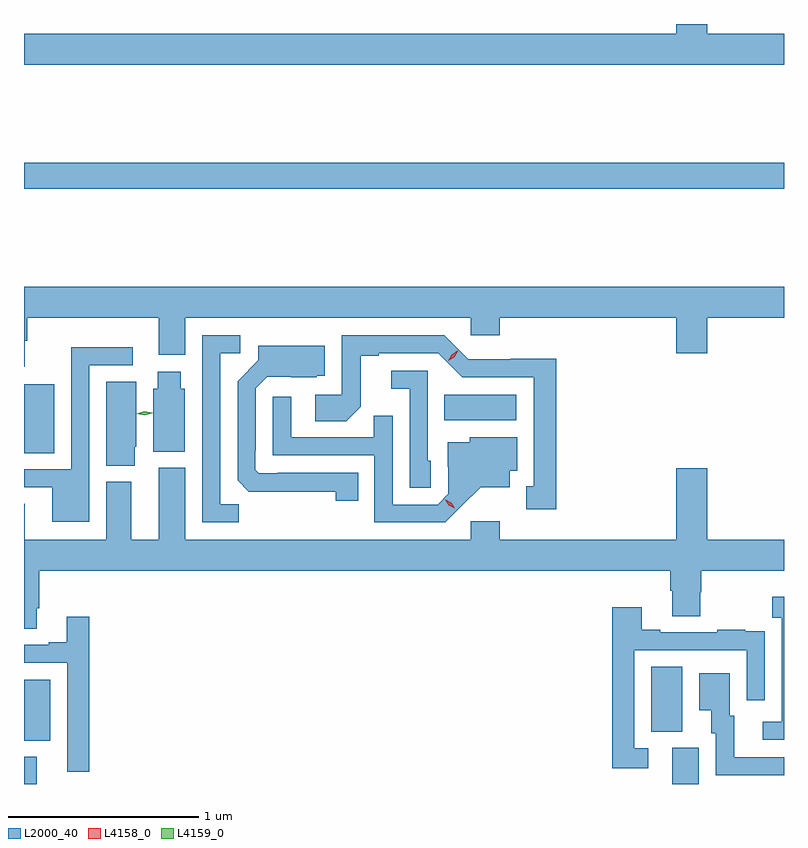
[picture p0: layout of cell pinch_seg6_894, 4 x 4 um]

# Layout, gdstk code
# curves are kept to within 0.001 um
import gdstk
lib = gdstk.Library(unit=1e-6, precision=1e-09)
def R(c, l, rs):  # rectangles x0, y0, x1, y1
    for r in rs: c.add(gdstk.rectangle(r[:2], r[2:], *l))
def P(c, l, *ps):  # polygons
    for p in ps: c.add(gdstk.Polygon(p, *l))
L2000_40 = (2000, 40)
L4158_0 = (4158, 0)
L4159_0 = (4159, 0)

pinch_seg6_894 = lib.new_cell('pinch_seg6_894')
R(pinch_seg6_894, L2000_40, [(353.383,942.218,353.449,942.361), (356.795,942.218,356.935,942.408), (353.383,942.446,353.521,942.766), (356.684,942.493,356.848,942.836), (353.383,943.96,353.542,944.323), (355.594,944.132,355.975,944.266), (353.383,945.352,357.383,945.488)])
P(pinch_seg6_894, L2000_40, [(357.383,946.168),(356.98,946.168),(356.98,946.218),(356.816,946.218),(356.816,946.168),(353.383,946.168),(353.383,946.004),(357.383,946.004)],
  [(353.386,944.552),(353.399,944.552),(353.399,944.672),(354.092,944.672),(354.092,944.478),(354.232,944.478),(354.232,944.672),(355.734,944.672),(355.734,944.579),(355.886,944.579),(355.886,944.672),(356.816,944.672),(356.816,944.484),(356.98,944.484),(356.98,944.672),(357.383,944.672),(357.383,944.836),(353.383,944.836),(353.383,944.415),(353.386,944.415)],
  [(354.513,943.691),(354.417,943.691),(354.417,944.484),(354.52,944.484),(354.52,944.58),(354.321,944.58),(354.321,943.596),(354.513,943.596)],
  [(356.185,944.456),(355.944,944.456),(355.944,944.454),(355.722,944.454),(355.596,944.58),(355.056,944.58),(355.056,944.268),(354.915,944.268),(354.915,944.128),(355.079,944.128),(355.155,944.204),(355.155,944.472),(355.249,944.472),(355.249,944.484),(355.563,944.484),(355.689,944.358),(356.066,944.358),(356.066,943.785),(356.027,943.785),(356.027,943.665),(356.185,943.665)],
  [(355.142,943.857),(354.718,943.857),(354.718,943.854),(354.618,943.854),(354.6,943.872),(354.6,943.972),(354.603,943.972),(354.603,944.301),(354.663,944.361),(354.92,944.36),(354.926,944.366),(354.967,944.366),(354.967,944.524),(354.617,944.524),(354.617,944.448),(354.507,944.338),(354.507,943.816),(354.566,943.757),(355.024,943.756),(355.024,943.71),(355.142,943.71)],
  [(353.727,944.421),(353.956,944.421),(353.956,944.518),(353.631,944.518),(353.631,943.875),(353.383,943.875),(353.383,943.779),(353.531,943.779),(353.531,943.598),(353.727,943.598)],
  [(355.524,943.92),(355.509,943.92),(355.509,944.394),(355.317,944.394),(355.317,944.297),(355.413,944.297),(355.413,943.777),(355.524,943.777)],
  [(354.229,944.298),(354.208,944.298),(354.208,944.389),(354.086,944.389),(354.086,944.298),(354.062,944.298),(354.062,943.967),(354.229,943.967)],
  [(353.965,943.992),(353.974,943.992),(353.974,944.336),(353.816,944.336),(353.816,943.894),(353.965,943.894)],
  [(355.684,943.679),(355.787,943.781),(355.939,943.781),(355.939,943.868),(355.978,943.868),(355.978,944.044),(355.728,944.044),(355.728,944.017),(355.613,944.017),(355.613,943.888),(355.617,943.888),(355.617,943.746),(355.56,943.689),(355.323,943.689),(355.323,944.156),(355.225,944.156),(355.225,944.043),(354.789,944.043),(354.789,944.257),(354.693,944.257),(354.693,943.947),(355.227,943.947),(355.227,943.596),(355.6,943.596)],
  [(353.449,943.144),(353.462,943.144),(353.462,943.34),(356.783,943.34),(356.783,943.234),(356.795,943.234),(356.795,943.102),(356.943,943.102),(356.943,943.227),(356.948,943.227),(356.948,943.34),(357.383,943.34),(357.383,943.504),(356.98,943.504),(356.98,943.879),(356.816,943.879),(356.816,943.504),(355.886,943.504),(355.886,943.6),(355.734,943.6),(355.734,943.504),(354.232,943.504),(354.232,943.882),(354.092,943.882),(354.092,943.504),(353.947,943.504),(353.947,943.809),(353.816,943.809),(353.816,943.504),(353.386,943.504),(353.386,943.694),(353.383,943.694),(353.383,943.036),(353.449,943.036)],
  [(357.383,943.204),(357.321,943.204),(357.321,943.094),(357.372,943.094),(357.372,942.546),(357.27,942.546),(357.27,942.45),(357.383,942.45)],
  [(356.668,942.405),(356.595,942.405),(356.595,942.921),(357.186,942.921),(357.186,942.66),(357.282,942.66),(357.282,942.914),(357.281,942.914),(357.281,943.023),(357.179,943.023),(357.179,943.03),(357.031,943.03),(357.031,943.017),(356.731,943.017),(356.731,943.03),(356.635,943.03),(356.635,943.147),(356.479,943.147),(356.479,942.3),(356.668,942.3)],
  [(353.726,943.099),(353.609,943.099),(353.609,942.964),(353.513,942.964),(353.513,942.951),(353.383,942.951),(353.383,942.855),(353.61,942.855),(353.61,942.282),(353.726,942.282)],
  [(357.383,942.36),(357.121,942.36),(357.121,942.576),(357.097,942.576),(357.097,942.802),(356.936,942.802),(356.936,942.605),(356.999,942.605),(356.999,942.486),(357.024,942.486),(357.024,942.264),(357.383,942.264)])
P(pinch_seg6_894, L4158_0, [(355.616,944.445),(355.616,944.445),(355.633,944.477),(355.664,944.497),(355.665,944.497),(355.665,944.496),(355.648,944.464),(355.616,944.445)],
  [(355.65,943.67),(355.619,943.684),(355.601,943.713),(355.601,943.714),(355.602,943.714),(355.632,943.699),(355.65,943.67),(355.65,943.67)])
P(pinch_seg6_894, L4159_0, [(354.018,944.159),(353.977,944.168),(353.977,944.168),(353.977,944.168),(354.017,944.179),(354.058,944.171),(354.058,944.17),(354.058,944.17)])

lib.write_gds('pinch_seg6_894.gds')
